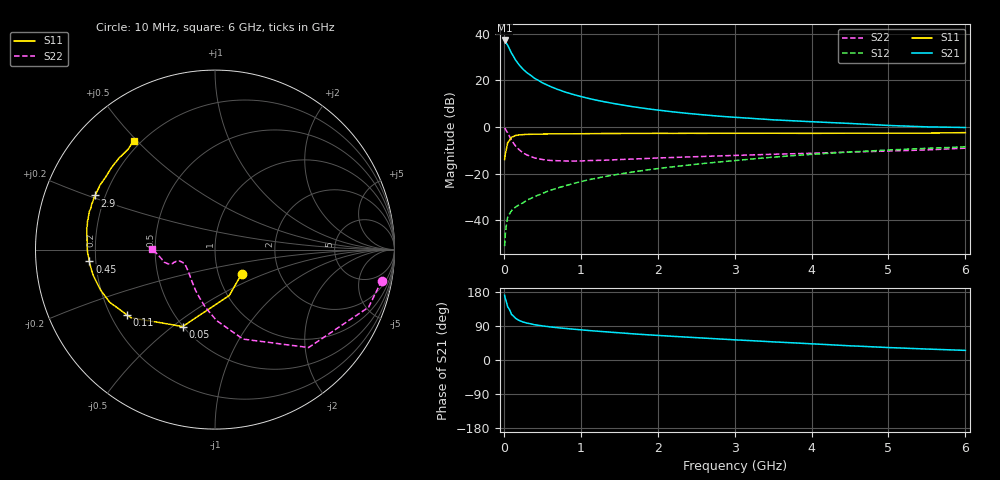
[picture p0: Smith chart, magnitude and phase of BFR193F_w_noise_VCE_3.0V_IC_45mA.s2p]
! Infineon Technologies  Discrete & RF Semiconductors
! BFR193F
! VCE =  3.0 V,  IC =  45 mA
! Common Emitter S-Parameters:  Jan 2017
# GHz  S  MA  R  50
!  f  S11  S21  S12  S22
! GHz  MAG  ANG  MAG  ANG  MAG  ANG  MAG  ANG
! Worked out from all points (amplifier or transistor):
!   77 points, 10 MHz to 6 GHz, reference 50 ohm
!   highest |S21| = 37.1 dB at 10 MHz (marker M1)
!   |S21| within 3 dB of that: start of sweep to 64.2 MHz
!   unconditionally stable (mu >= 1): 792.5 MHz to 2.601 GHz
!   at 130 MHz: K = 0.49, MSG = 32.4 dB, |S12| = -34.9 dB
!   at 2.2 GHz: K = 1.02, MAG = 10.9 dB, |S12| = -17.1 dB
!   at 6 GHz: K = 0.88, MSG = 4.1 dB, |S12| = -8.5 dB
!   lowest NFmin = 1.41 dB at 450 MHz
!   S11 on the Smith chart (normalised r, x): 10 MHz: 1.29, -0.37; 50 MHz: 0.50, -0.54; 110 MHz: 0.27, -0.31; 450 MHz: 0.17, -0.05; 2.9 GHz: 0.16, +0.21; 6 GHz: 0.17, +0.49
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0.01  0.2013 -42.7  71.28 170.9  0.0028 86.9  0.9452 -10.5
0.02  0.2677 -72.7  68.59 161.6  0.0052 78.0  0.9138 -20.6
0.05  0.465 -112.8  56.19 140.3  0.0116 63.3  0.7547 -46.3
0.1  0.6028 -141.0  37.92 120.2  0.0161 53.5  0.5221 -72.7
0.11  0.611 -143.6  35.77 118.7  0.0167 52.9  0.494 -75.2
0.15  0.6559 -153.4  27.47 110.3  0.0192 51.1  0.3948 -88.8
0.2  0.676 -160.5  21.27 104.2  0.0216 53.1  0.3246 -99.7
0.25  0.6867 -165.5  17.26 100.3  0.0238 55.2  0.2779 -108.6
0.3  0.6944 -168.5  14.54 97.4  0.027 58.0  0.2516 -115.5
0.4  0.7013 -173.1  11.01 93.0  0.0321 62.7  0.2172 -126.6
0.45  0.7028 -174.6  9.93 91.7  0.0349 64.4  0.2086 -130.4
0.6  0.7102 -178.6  7.422 87.4  0.0438 67.4  0.1921 -140.7
0.7  0.7121 179.1  6.376 85.2  0.0494 68.9  0.1891 -144.9
0.9  0.7148 175.9  4.982 81.4  0.0614 71.1  0.1864 -151.8
1.1  0.7193 173.1  4.093 77.9  0.0739 72.4  0.1906 -155.6
1.5  0.7257 168.5  3.032 71.8  0.098 72.8  0.2012 -160.5
2.1  0.7305 162.5  2.204 63.7  0.1345 72.6  0.2194 -162.9
2.9  0.7331 155.7  1.657 54.4  0.1841 70.9  0.2429 -162.4
3.1  0.7327 154.0  1.574 52.2  0.1972 70.3  0.2486 -161.9
4.1  0.7316 145.2  1.274 41.7  0.2654 65.9  0.2767 -163.7
5.1  0.7384 135.3  1.063 32.1  0.3267 59.9  0.3085 -172.0
6  0.7567 126.8  0.975 25.4  0.3757 54.4  0.3516 179.4
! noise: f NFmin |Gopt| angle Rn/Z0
0.45  1.41  0.45  180  0.07
0.9  1.49  0.46  -179  0.07
1.9  2.06  0.59  -164  0.09
2.4  2.37  0.61  -156  0.14
